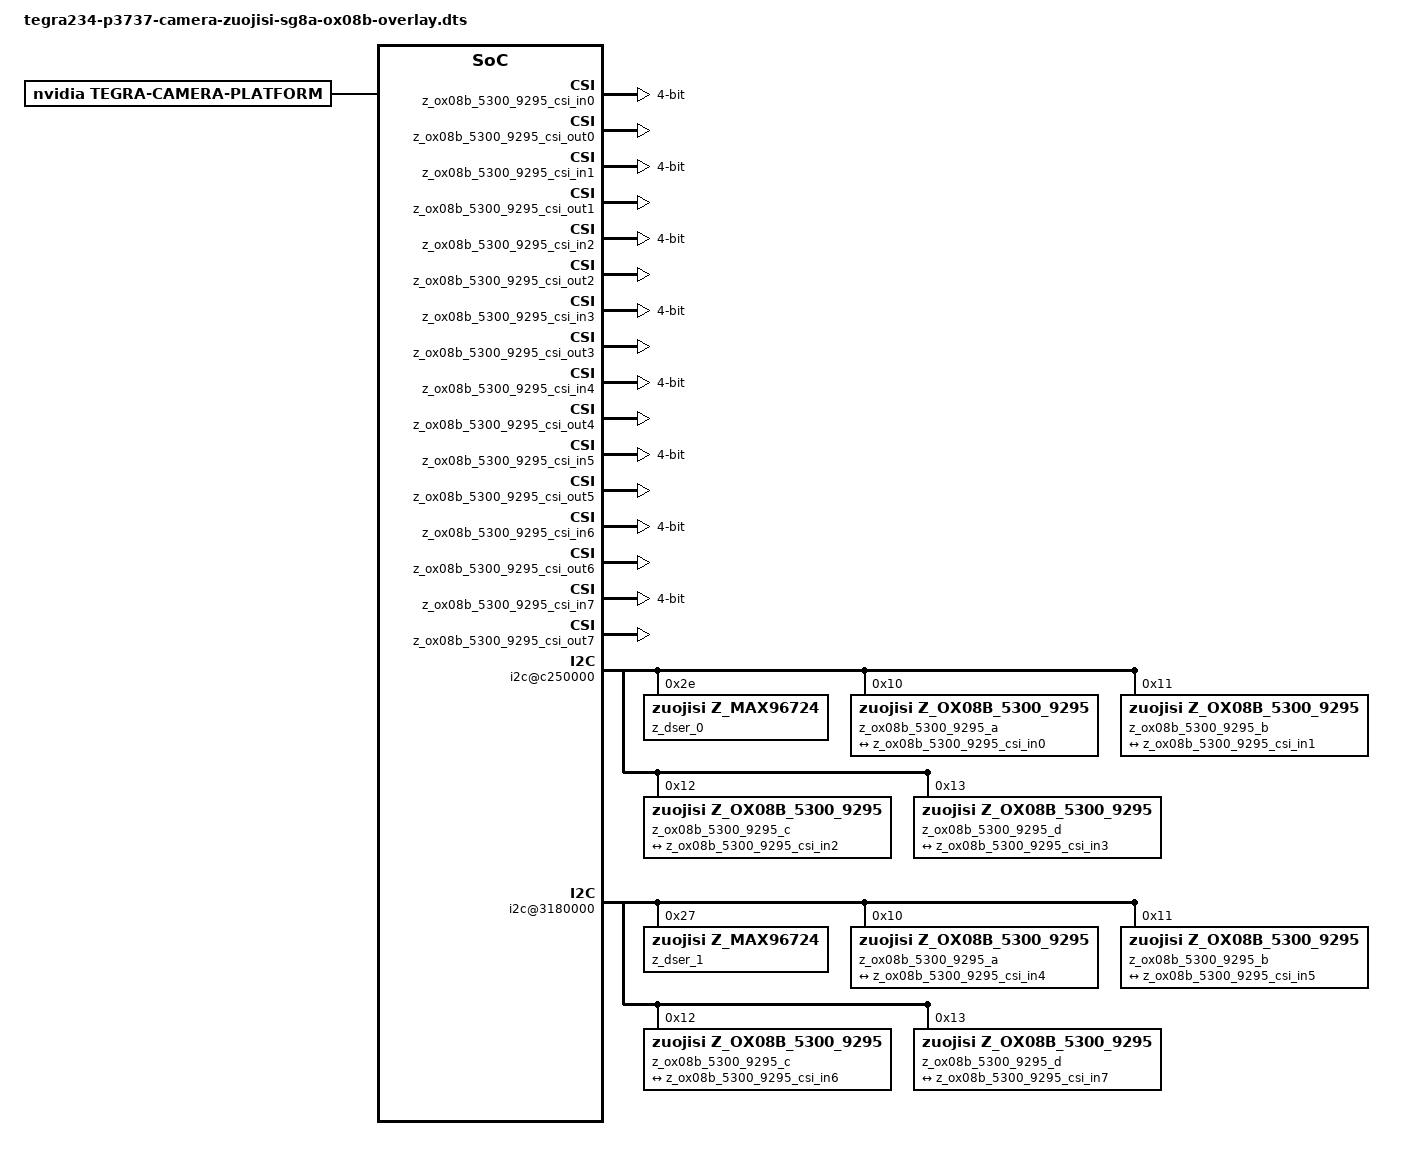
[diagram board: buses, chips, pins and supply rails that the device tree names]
// SPDX-License-Identifier: GPL-2.0-only
// SPDX-FileCopyrightText: Copyright (c) 2018-2023, NVIDIA CORPORATION & AFFILIATES. All rights reserved.

/*
 * Camera module: SG8-OX08BC-5300-GMSL2
 *   Sensor: OmniVision OX08B40 (8.3MP)
 *   ISP:    GW5300 (I2C 0x6D/7bit)
 *   SerDes: MAX9295A → MAX96724 (zuojisi)
 *   Output: YUV422 8bit, 3840x2160@30fps
 */

/dts-v1/;
/plugin/;

#define CAM0_RST    TEGRA234_MAIN_GPIO(H, 3)
#define CAM0_PWDN    TEGRA234_MAIN_GPIO(H, 6)
#define CAM1_PWDN    TEGRA234_MAIN_GPIO(AC, 0)
#define CAM_I2C_MUX     TEGRA234_AON_GPIO(CC, 3)

#include <dt-bindings/tegra234-p3767-0000-common.h>

/ {
	overlay-name = "AIU-100 SG8-OX08BC-5300-GMSL2 Camera";
	jetson-header-name = "Jetson AGX CSI Connector";
	compatible = JETSON_COMPATIBLE;

	fragment@0 {
		target-path = "/";

		__overlay__ {
			zuojisi {
				base {
					label = "xcbase 20250517";
				};
				branch {
					label = "CIG AIU-100 with SG8-OX08BC-5300-GMSL2 camera";
				};
			};
			tegra-capture-vi {
				num-channels = <8>;
				ports {
					#address-cells = <1>;
					#size-cells = <0>;
					status = "okay";
					port@0 {
						status = "okay";
						reg = <0>;
						z_ox08b_5300_9295_vi_in0: endpoint {
							status = "okay";
							vc-id = <0>;
							port-index = <4>;
							bus-width = <4>;
							remote-endpoint = <&z_ox08b_5300_9295_csi_out0>;
						};
					};
					port@1 {
						status = "okay";
						reg = <1>;
						z_ox08b_5300_9295_vi_in1: endpoint {
							status = "okay";
							vc-id = <1>;
							port-index = <4>;
							bus-width = <4>;
							remote-endpoint = <&z_ox08b_5300_9295_csi_out1>;
						};
					};
					port@2 {
						status = "okay";
						reg = <2>;
						z_ox08b_5300_9295_vi_in2: endpoint {
							status = "okay";
							vc-id = <0>;
							port-index = <5>;
							bus-width = <4>;
							remote-endpoint = <&z_ox08b_5300_9295_csi_out2>;
						};
					};
					port@3 {
						status = "okay";
						reg = <3>;
						z_ox08b_5300_9295_vi_in3: endpoint {
							status = "okay";
							vc-id = <1>;
							port-index = <5>;
							bus-width = <4>;
							remote-endpoint = <&z_ox08b_5300_9295_csi_out3>;
						};
					};
					port@4 {
						status = "okay";
						reg = <4>;
						z_ox08b_5300_9295_vi_in4: endpoint {
							status = "okay";
							vc-id = <0>;
							port-index = <0>;
							bus-width = <4>;
							remote-endpoint = <&z_ox08b_5300_9295_csi_out4>;
						};
					};
					port@5 {
						status = "okay";
						reg = <5>;
						z_ox08b_5300_9295_vi_in5: endpoint {
							status = "okay";
							vc-id = <1>;
							port-index = <0>;
							bus-width = <4>;
							remote-endpoint = <&z_ox08b_5300_9295_csi_out5>;
						};
					};
					port@6 {
						status = "okay";
						reg = <6>;
						z_ox08b_5300_9295_vi_in6: endpoint {
							status = "okay";
							vc-id = <0>;
							port-index = <2>;
							bus-width = <4>;
							remote-endpoint = <&z_ox08b_5300_9295_csi_out6>;
						};
					};
					port@7 {
						status = "okay";
						reg = <7>;
						z_ox08b_5300_9295_vi_in7: endpoint {
							status = "okay";
							vc-id = <1>;
							port-index = <2>;
							bus-width = <4>;
							remote-endpoint = <&z_ox08b_5300_9295_csi_out7>;
						};
					};
				};
			};
			tegra-camera-platform {
				compatible = "nvidia, tegra-camera-platform";
				num_csi_lanes = <16>;
				max_lane_speed = <4000000>;
				min_bits_per_pixel = <16>;
				vi_peak_byte_per_pixel = <2>;
				vi_bw_margin_pct = <25>;
				max_pixel_rate = <7500000>;
				isp_peak_byte_per_pixel = <5>;
				isp_bw_margin_pct = <25>;
			};
			bus@0{
				host1x@13e00000 {
					nvcsi@15a00000 {
						num-channels = <8>;
						#address-cells = <1>;
						#size-cells = <0>;
						channel@0 {
							status = "okay";
							reg = <0>;
							ports {
								status = "okay";
								#address-cells = <1>;
								#size-cells = <0>;
								port@0 {
									status = "okay";
									reg = <0>;
									z_ox08b_5300_9295_csi_in0: endpoint@0 {
										status = "okay";
										port-index = <4>;
										bus-width = <4>;
										remote-endpoint = <&z_ox08b_5300_9295_cam_out0>;
									};
								};
								port@1 {
									status = "okay";
									reg = <1>;
									z_ox08b_5300_9295_csi_out0: endpoint@1 {
										status = "okay";
										remote-endpoint = <&z_ox08b_5300_9295_vi_in0>;
									};
								};
							};
						};
						channel@1 {
							status = "okay";
							reg = <1>;
							ports {
								status = "okay";
								#address-cells = <1>;
								#size-cells = <0>;
								port@0 {
									status = "okay";
									reg = <0>;
									z_ox08b_5300_9295_csi_in1: endpoint@2 {
										status = "okay";
										port-index = <4>;
										bus-width = <4>;
										remote-endpoint = <&z_ox08b_5300_9295_cam_out1>;
									};
								};
								port@1 {
									status = "okay";
									reg = <1>;
									z_ox08b_5300_9295_csi_out1: endpoint@3 {
										status = "okay";
										remote-endpoint = <&z_ox08b_5300_9295_vi_in1>;
									};
								};
							};
						};
						channel@2 {
							status = "okay";
							reg = <2>;
							ports {
								status = "okay";
								#address-cells = <1>;
								#size-cells = <0>;
								port@0 {
									status = "okay";
									reg = <0>;
									z_ox08b_5300_9295_csi_in2: endpoint@4 {
										status = "okay";
										port-index = <6>;
										bus-width = <4>;
										remote-endpoint = <&z_ox08b_5300_9295_cam_out2>;
									};
								};
								port@1 {
									status = "okay";
									reg = <1>;
									z_ox08b_5300_9295_csi_out2: endpoint@5 {
										status = "okay";
										remote-endpoint = <&z_ox08b_5300_9295_vi_in2>;
									};
								};
							};
						};
						channel@3 {
							status = "okay";
							reg = <3>;
							ports {
								status = "okay";
								#address-cells = <1>;
								#size-cells = <0>;
								port@0 {
									status = "okay";
									reg = <0>;
									z_ox08b_5300_9295_csi_in3: endpoint@6 {
										status = "okay";
										port-index = <6>;
										bus-width = <4>;
										remote-endpoint = <&z_ox08b_5300_9295_cam_out3>;
									};
								};
								port@1 {
									status = "okay";
									reg = <1>;
									z_ox08b_5300_9295_csi_out3: endpoint@7 {
										status = "okay";
										remote-endpoint = <&z_ox08b_5300_9295_vi_in3>;
									};
								};
							};
						};
						channel@4 {
							status = "okay";
							reg = <4>;
							ports {
								status = "okay";
								#address-cells = <1>;
								#size-cells = <0>;
								port@0 {
									status = "okay";
									reg = <0>;
									z_ox08b_5300_9295_csi_in4: endpoint@8 {
										status = "okay";
										port-index = <0>;
										bus-width = <4>;
										remote-endpoint = <&z_ox08b_5300_9295_cam_out4>;
									};
								};
								port@1 {
									status = "okay";
									reg = <1>;
									z_ox08b_5300_9295_csi_out4: endpoint@9 {
										status = "okay";
										remote-endpoint = <&z_ox08b_5300_9295_vi_in4>;
									};
								};
							};
						};
						channel@5 {
							status = "okay";
							reg = <5>;
							ports {
								status = "okay";
								#address-cells = <1>;
								#size-cells = <0>;
								port@0 {
									status = "okay";
									reg = <0>;
									z_ox08b_5300_9295_csi_in5: endpoint@10 {
										status = "okay";
										port-index = <0>;
										bus-width = <4>;
										remote-endpoint = <&z_ox08b_5300_9295_cam_out5>;
									};
								};
								port@1 {
									status = "okay";
									reg = <1>;
									z_ox08b_5300_9295_csi_out5: endpoint@11 {
										status = "okay";
										remote-endpoint = <&z_ox08b_5300_9295_vi_in5>;
									};
								};
							};
						};
						channel@6 {
							status = "okay";
							reg = <6>;
							ports {
								status = "okay";
								#address-cells = <1>;
								#size-cells = <0>;
								port@0 {
									status = "okay";
									reg = <0>;
									z_ox08b_5300_9295_csi_in6: endpoint@12 {
										status = "okay";
										port-index = <2>;
										bus-width = <4>;
										remote-endpoint = <&z_ox08b_5300_9295_cam_out6>;
									};
								};
								port@1 {
									status = "okay";
									reg = <1>;
									z_ox08b_5300_9295_csi_out6: endpoint@13 {
										status = "okay";
										remote-endpoint = <&z_ox08b_5300_9295_vi_in6>;
									};
								};
							};
						};
						channel@7 {
							status = "okay";
							reg = <7>;
							ports {
								status = "okay";
								#address-cells = <1>;
								#size-cells = <0>;
								port@0 {
									status = "okay";
									reg = <0>;
									z_ox08b_5300_9295_csi_in7: endpoint@14 {
										status = "okay";
										port-index = <2>;
										bus-width = <4>;
										remote-endpoint = <&z_ox08b_5300_9295_cam_out7>;
									};
								};
								port@1 {
									status = "okay";
									reg = <1>;
									z_ox08b_5300_9295_csi_out7: endpoint@15 {
										status = "okay";
										remote-endpoint = <&z_ox08b_5300_9295_vi_in7>;
									};
								};
							};
						};
					};
				};

				/* MAX96724 解串器 0: i2c@c250000, CSI serial_g (port-index 6), 4路 MAX9295A */
				i2c@c250000 {
					z_dser_0: z_max96724 {
						status = "okay";
						compatible = "zuojisi,z_max96724";
						reg = <0x2e>;
						mipi-2x4-mode; /* 800W摄像头使用2x4模式 */
					};
					z_ox08b_5300_9295_a {
						status = "okay";
						def-addr = <0x6d>; /* GW5300 ISP 默认 I2C 地址 (0xDA/8bit = 0x6D/7bit) */
						nvidia,gmsl-dser-device = <&z_dser_0>;
						des-link = "A";

						compatible = "zuojisi,z_ox08b_5300_9295";
						reg = <0x10>; /* MAX9295A 转译后的 I2C 地址 */

						physical_w = "15.0";
						physical_h = "12.5";
						sensor_model = "ox08b40";
						post_crop_frame_drop = "0";
						use_decibel_gain = "true";
						use_sensor_mode_id = "true";

						mode0 { /* 3840x2160 YUV422 8bit 30fps */
							mclk_khz = "24000";
							num_lanes = "4";
							tegra_sinterface = "serial_e";
							vc_id = "0";
							phy_mode = "DPHY";
							discontinuous_clk = "no";
							dpcm_enable = "false";
							cil_settletime = "0";
							dynamic_pixel_bit_depth = "16";
							csi_pixel_bit_depth = "16";
							mode_type = "yuv";
							pixel_phase = "yuyv";

							active_w = "3840";
							active_h = "2160";
							readout_orientation = "0";
							line_length = "3840";
							inherent_gain = "1";
							mclk_multiplier = "24";
							pix_clk_hz = "300000000";
							serdes_pix_clk_hz = "600000000";

							gain_factor = "1000";
							min_gain_val = "1";
							max_gain_val = "72000";
							step_gain_val = "300";
							default_gain = "1";
							min_hdr_ratio = "1";
							max_hdr_ratio = "1";
							framerate_factor = "1000000";
							min_framerate = "30000000";
							max_framerate = "30000000";
							step_framerate = "1";
							default_framerate = "30000000";
							exposure_factor = "1000000";
							min_exp_time = "15";
							max_exp_time = "30000";
							step_exp_time = "1";
							default_exp_time = "30000";
							embedded_metadata_height = "0";
						};
						ports {
							#address-cells = <1>;
							#size-cells = <0>;
							port@0 {
								reg = <0>;
								z_ox08b_5300_9295_cam_out0: endpoint {
									vc-id = <0>;
									port-index = <4>;
									bus-width = <4>;
									remote-endpoint = <&z_ox08b_5300_9295_csi_in0>;
								};
							};
						};
						gmsl-link {
							num-ser-lanes = <4>;
							streams = "yuv16";
						};
					};
					z_ox08b_5300_9295_b {
						status = "okay";
						def-addr = <0x6d>;
						nvidia,gmsl-dser-device = <&z_dser_0>;
						des-link = "B";

						compatible = "zuojisi,z_ox08b_5300_9295";
						reg = <0x11>;

						physical_w = "15.0";
						physical_h = "12.5";
						sensor_model = "ox08b40";
						post_crop_frame_drop = "0";
						use_decibel_gain = "true";
						use_sensor_mode_id = "true";

						mode0 {
							mclk_khz = "24000";
							num_lanes = "4";
							tegra_sinterface = "serial_e";
							vc_id = "1";
							phy_mode = "DPHY";
							discontinuous_clk = "no";
							dpcm_enable = "false";
							cil_settletime = "0";
							dynamic_pixel_bit_depth = "16";
							csi_pixel_bit_depth = "16";
							mode_type = "yuv";
							pixel_phase = "yuyv";

							active_w = "3840";
							active_h = "2160";
							readout_orientation = "0";
							line_length = "3840";
							inherent_gain = "1";
							mclk_multiplier = "24";
							pix_clk_hz = "300000000";
							serdes_pix_clk_hz = "600000000";

							gain_factor = "1000";
							min_gain_val = "1";
							max_gain_val = "72000";
							step_gain_val = "300";
							default_gain = "1";
							min_hdr_ratio = "1";
							max_hdr_ratio = "1";
							framerate_factor = "1000000";
							min_framerate = "30000000";
							max_framerate = "30000000";
							step_framerate = "1";
							default_framerate = "30000000";
							exposure_factor = "1000000";
							min_exp_time = "15";
							max_exp_time = "30000";
							step_exp_time = "1";
							default_exp_time = "30000";
							embedded_metadata_height = "0";
						};
						ports {
							#address-cells = <1>;
							#size-cells = <0>;
							port@0 {
								reg = <0>;
								z_ox08b_5300_9295_cam_out1: endpoint {
									vc-id = <1>;
									port-index = <4>;
									bus-width = <4>;
									remote-endpoint = <&z_ox08b_5300_9295_csi_in1>;
								};
							};
						};
						gmsl-link {
							num-ser-lanes = <4>;
							streams = "yuv16";
						};
					};
					z_ox08b_5300_9295_c {
						status = "okay";
						def-addr = <0x6d>;
						nvidia,gmsl-dser-device = <&z_dser_0>;
						des-link = "C";

						compatible = "zuojisi,z_ox08b_5300_9295";
						reg = <0x12>;

						physical_w = "15.0";
						physical_h = "12.5";
						sensor_model = "ox08b40";
						post_crop_frame_drop = "0";
						use_decibel_gain = "true";
						use_sensor_mode_id = "true";

						mode0 {
							mclk_khz = "24000";
							num_lanes = "4";
							tegra_sinterface = "serial_g";
							vc_id = "0";
							phy_mode = "DPHY";
							discontinuous_clk = "no";
							dpcm_enable = "false";
							cil_settletime = "0";
							dynamic_pixel_bit_depth = "16";
							csi_pixel_bit_depth = "16";
							mode_type = "yuv";
							pixel_phase = "yuyv";

							active_w = "3840";
							active_h = "2160";
							readout_orientation = "0";
							line_length = "3840";
							inherent_gain = "1";
							mclk_multiplier = "24";
							pix_clk_hz = "300000000";
							serdes_pix_clk_hz = "600000000";

							gain_factor = "1000";
							min_gain_val = "1";
							max_gain_val = "72000";
							step_gain_val = "300";
							default_gain = "1";
							min_hdr_ratio = "1";
							max_hdr_ratio = "1";
							framerate_factor = "1000000";
							min_framerate = "30000000";
							max_framerate = "30000000";
							step_framerate = "1";
							default_framerate = "30000000";
							exposure_factor = "1000000";
							min_exp_time = "15";
							max_exp_time = "30000";
							step_exp_time = "1";
							default_exp_time = "30000";
							embedded_metadata_height = "0";
						};
						ports {
							#address-cells = <1>;
							#size-cells = <0>;
							port@0 {
								reg = <0>;
								z_ox08b_5300_9295_cam_out2: endpoint {
									vc-id = <0>;
									port-index = <6>;
									bus-width = <4>;
									remote-endpoint = <&z_ox08b_5300_9295_csi_in2>;
								};
							};
						};
						gmsl-link {
							num-ser-lanes = <4>;
							streams = "yuv16";
						};
					};
					z_ox08b_5300_9295_d {
						status = "okay";
						def-addr = <0x6d>;
						nvidia,gmsl-dser-device = <&z_dser_0>;
						des-link = "D";

						compatible = "zuojisi,z_ox08b_5300_9295";
						reg = <0x13>;

						physical_w = "15.0";
						physical_h = "12.5";
						sensor_model = "ox08b40";
						post_crop_frame_drop = "0";
						use_decibel_gain = "true";
						use_sensor_mode_id = "true";

						mode0 {
							mclk_khz = "24000";
							num_lanes = "4";
							tegra_sinterface = "serial_g";
							vc_id = "1";
							phy_mode = "DPHY";
							discontinuous_clk = "no";
							dpcm_enable = "false";
							cil_settletime = "0";
							dynamic_pixel_bit_depth = "16";
							csi_pixel_bit_depth = "16";
							mode_type = "yuv";
							pixel_phase = "yuyv";

							active_w = "3840";
							active_h = "2160";
							readout_orientation = "0";
							line_length = "3840";
							inherent_gain = "1";
							mclk_multiplier = "24";
							pix_clk_hz = "300000000";
							serdes_pix_clk_hz = "600000000";

							gain_factor = "1000";
							min_gain_val = "1";
							max_gain_val = "72000";
							step_gain_val = "300";
							default_gain = "1";
							min_hdr_ratio = "1";
							max_hdr_ratio = "1";
							framerate_factor = "1000000";
							min_framerate = "30000000";
							max_framerate = "30000000";
							step_framerate = "1";
							default_framerate = "30000000";
							exposure_factor = "1000000";
							min_exp_time = "15";
							max_exp_time = "30000";
							step_exp_time = "1";
							default_exp_time = "30000";
							embedded_metadata_height = "0";
						};
						ports {
							#address-cells = <1>;
							#size-cells = <0>;
							port@0 {
								reg = <0>;
								z_ox08b_5300_9295_cam_out3: endpoint {
									vc-id = <1>;
									port-index = <6>;
									bus-width = <4>;
									remote-endpoint = <&z_ox08b_5300_9295_csi_in3>;
								};
							};
						};
						gmsl-link {
							num-ser-lanes = <4>;
							streams = "yuv16";
						};
					};
				};

				/* MAX96724 解串器 1: i2c@3180000, CSI serial_c (port-index 2), 4路 MAX9295A */
				i2c@3180000 {
					z_dser_1: z_max96724 {
						status = "okay";
						compatible = "zuojisi,z_max96724";
						reg = <0x27>;
						is-master;
						mipi-2x4-mode; /* 800W摄像头使用2x4模式 */
					};
					z_ox08b_5300_9295_a {
						status = "okay";
						def-addr = <0x6d>;
						nvidia,gmsl-dser-device = <&z_dser_1>;
						des-link = "A";

						compatible = "zuojisi,z_ox08b_5300_9295";
						reg = <0x10>;

						physical_w = "15.0";
						physical_h = "12.5";
						sensor_model = "ox08b40";
						post_crop_frame_drop = "0";
						use_decibel_gain = "true";
						use_sensor_mode_id = "true";

						mode0 {
							mclk_khz = "24000";
							num_lanes = "4";
							tegra_sinterface = "serial_a";
							vc_id = "0";
							phy_mode = "DPHY";
							discontinuous_clk = "no";
							dpcm_enable = "false";
							cil_settletime = "0";
							dynamic_pixel_bit_depth = "16";
							csi_pixel_bit_depth = "16";
							mode_type = "yuv";
							pixel_phase = "yuyv";
							lane_polarity = "0";

							active_w = "3840";
							active_h = "2160";
							readout_orientation = "0";
							line_length = "3840";
							inherent_gain = "1";
							mclk_multiplier = "24";
							pix_clk_hz = "300000000";
							serdes_pix_clk_hz = "600000000";

							gain_factor = "1000";
							min_gain_val = "1";
							max_gain_val = "72000";
							step_gain_val = "300";
							default_gain = "1";
							min_hdr_ratio = "1";
							max_hdr_ratio = "1";
							framerate_factor = "1000000";
							min_framerate = "30000000";
							max_framerate = "30000000";
							step_framerate = "1";
							default_framerate = "30000000";
							exposure_factor = "1000000";
							min_exp_time = "15";
							max_exp_time = "30000";
							step_exp_time = "1";
							default_exp_time = "30000";
							embedded_metadata_height = "0";
						};
						ports {
							#address-cells = <1>;
							#size-cells = <0>;
							port@0 {
								reg = <0>;
								z_ox08b_5300_9295_cam_out4: endpoint {
									vc-id = <0>;
									port-index = <0>;
									bus-width = <4>;
									remote-endpoint = <&z_ox08b_5300_9295_csi_in4>;
								};
							};
						};
						gmsl-link {
							num-ser-lanes = <4>;
							streams = "yuv16";
						};
					};
					z_ox08b_5300_9295_b {
						status = "okay";
						def-addr = <0x6d>;
						nvidia,gmsl-dser-device = <&z_dser_1>;
						des-link = "B";

						compatible = "zuojisi,z_ox08b_5300_9295";
						reg = <0x11>;

						physical_w = "15.0";
						physical_h = "12.5";
						sensor_model = "ox08b40";
						post_crop_frame_drop = "0";
						use_decibel_gain = "true";
						use_sensor_mode_id = "true";

						mode0 {
							mclk_khz = "24000";
							num_lanes = "4";
							tegra_sinterface = "serial_a";
							vc_id = "1";
							phy_mode = "DPHY";
							discontinuous_clk = "no";
							dpcm_enable = "false";
							cil_settletime = "0";
							dynamic_pixel_bit_depth = "16";
							csi_pixel_bit_depth = "16";
							mode_type = "yuv";
							pixel_phase = "yuyv";
							lane_polarity = "0";

							active_w = "3840";
							active_h = "2160";
							readout_orientation = "0";
							line_length = "3840";
							inherent_gain = "1";
							mclk_multiplier = "24";
							pix_clk_hz = "300000000";
							serdes_pix_clk_hz = "600000000";

							gain_factor = "1000";
							min_gain_val = "1";
							max_gain_val = "72000";
							step_gain_val = "300";
							default_gain = "1";
							min_hdr_ratio = "1";
							max_hdr_ratio = "1";
							framerate_factor = "1000000";
							min_framerate = "30000000";
							max_framerate = "30000000";
							step_framerate = "1";
							default_framerate = "30000000";
							exposure_factor = "1000000";
							min_exp_time = "15";
							max_exp_time = "30000";
							step_exp_time = "1";
							default_exp_time = "30000";
							embedded_metadata_height = "0";
						};
						ports {
							#address-cells = <1>;
							#size-cells = <0>;
							port@0 {
								reg = <0>;
								z_ox08b_5300_9295_cam_out5: endpoint {
									vc-id = <1>;
									port-index = <0>;
									bus-width = <4>;
									remote-endpoint = <&z_ox08b_5300_9295_csi_in5>;
								};
							};
						};
						gmsl-link {
							num-ser-lanes = <4>;
							streams = "yuv16";
						};
					};
					z_ox08b_5300_9295_c {
						status = "okay";
						def-addr = <0x6d>;
						nvidia,gmsl-dser-device = <&z_dser_1>;
						des-link = "C";

						compatible = "zuojisi,z_ox08b_5300_9295";
						reg = <0x12>;

						physical_w = "15.0";
						physical_h = "12.5";
						sensor_model = "ox08b40";
						post_crop_frame_drop = "0";
						use_decibel_gain = "true";
						use_sensor_mode_id = "true";

						mode0 {
							mclk_khz = "24000";
							num_lanes = "4";
							tegra_sinterface = "serial_c";
							vc_id = "0";
							phy_mode = "DPHY";
							discontinuous_clk = "no";
							dpcm_enable = "false";
							cil_settletime = "0";
							dynamic_pixel_bit_depth = "16";
							csi_pixel_bit_depth = "16";
							mode_type = "yuv";
							pixel_phase = "yuyv";
							lane_polarity = "0";

							active_w = "3840";
							active_h = "2160";
							readout_orientation = "0";
							line_length = "3840";
							inherent_gain = "1";
							mclk_multiplier = "24";
							pix_clk_hz = "300000000";
							serdes_pix_clk_hz = "600000000";

							gain_factor = "1000";
							min_gain_val = "1";
							max_gain_val = "72000";
							step_gain_val = "300";
							default_gain = "1";
							min_hdr_ratio = "1";
							max_hdr_ratio = "1";
							framerate_factor = "1000000";
							min_framerate = "30000000";
							max_framerate = "30000000";
							step_framerate = "1";
							default_framerate = "30000000";
							exposure_factor = "1000000";
							min_exp_time = "15";
							max_exp_time = "30000";
							step_exp_time = "1";
							default_exp_time = "30000";
							embedded_metadata_height = "0";
						};
						ports {
							#address-cells = <1>;
							#size-cells = <0>;
							port@0 {
								reg = <0>;
								z_ox08b_5300_9295_cam_out6: endpoint {
									vc-id = <0>;
									port-index = <2>;
									bus-width = <4>;
									remote-endpoint = <&z_ox08b_5300_9295_csi_in6>;
								};
							};
						};
						gmsl-link {
							num-ser-lanes = <4>;
							streams = "yuv16";
						};
					};
					z_ox08b_5300_9295_d {
						status = "okay";
						def-addr = <0x6d>;
						nvidia,gmsl-dser-device = <&z_dser_1>;
						des-link = "D";

						compatible = "zuojisi,z_ox08b_5300_9295";
						reg = <0x13>;

						physical_w = "15.0";
						physical_h = "12.5";
						sensor_model = "ox08b40";
						post_crop_frame_drop = "0";
						use_decibel_gain = "true";
						use_sensor_mode_id = "true";

						mode0 {
							mclk_khz = "24000";
							num_lanes = "4";
							tegra_sinterface = "serial_c";
							vc_id = "1";
							phy_mode = "DPHY";
							discontinuous_clk = "no";
							dpcm_enable = "false";
							cil_settletime = "0";
							dynamic_pixel_bit_depth = "16";
							csi_pixel_bit_depth = "16";
							mode_type = "yuv";
							pixel_phase = "yuyv";
							lane_polarity = "0";

							active_w = "3840";
							active_h = "2160";
							readout_orientation = "0";
							line_length = "3840";
							inherent_gain = "1";
							mclk_multiplier = "24";
							pix_clk_hz = "300000000";
							serdes_pix_clk_hz = "600000000";

							gain_factor = "1000";
							min_gain_val = "1";
							max_gain_val = "72000";
							step_gain_val = "300";
							default_gain = "1";
							min_hdr_ratio = "1";
							max_hdr_ratio = "1";
							framerate_factor = "1000000";
							min_framerate = "30000000";
							max_framerate = "30000000";
							step_framerate = "1";
							default_framerate = "30000000";
							exposure_factor = "1000000";
							min_exp_time = "15";
							max_exp_time = "30000";
							step_exp_time = "1";
							default_exp_time = "30000";
							embedded_metadata_height = "0";
						};
						ports {
							#address-cells = <1>;
							#size-cells = <0>;
							port@0 {
								reg = <0>;
								z_ox08b_5300_9295_cam_out7: endpoint {
									vc-id = <1>;
									port-index = <2>;
									bus-width = <4>;
									remote-endpoint = <&z_ox08b_5300_9295_csi_in7>;
								};
							};
						};
						gmsl-link {
							num-ser-lanes = <4>;
							streams = "yuv16";
						};
					};
				};
			};
		};
	};
};
